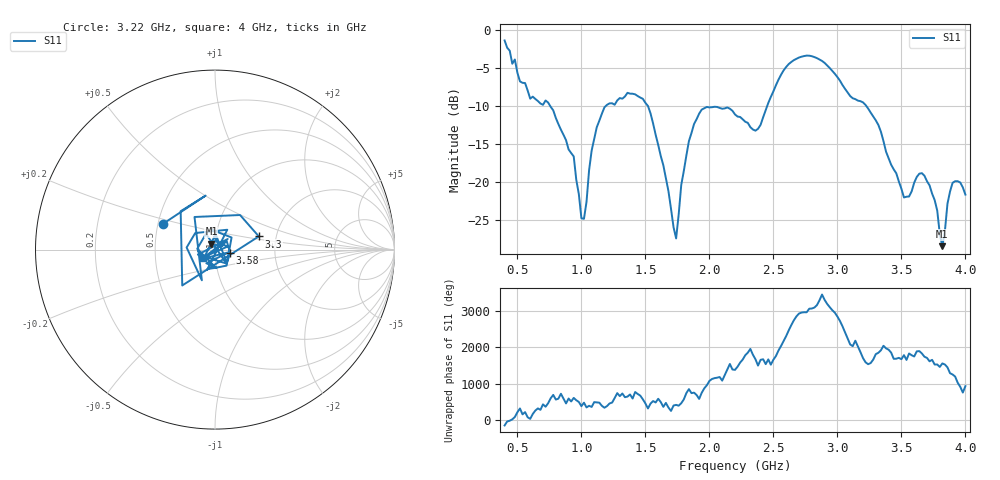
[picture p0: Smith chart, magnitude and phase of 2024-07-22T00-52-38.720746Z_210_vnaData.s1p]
!Created with skrf (http://scikit-rf.org).
# Hz S RI R 50.0
!freq ReS11 ImS11
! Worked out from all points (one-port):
!   181 points, 400 MHz to 4 GHz, reference 50 ohm
!   lowest |S11| = -28.5 dB at 3.82 GHz (marker M1), VSWR 1.08, Z = 48 + j3.1 ohm
!   |S11| at or under -10 dB: 757 MHz to 1.189 GHz (432.2 MHz wide, 44.4 % of centre); 1.521 GHz to 2.451 GHz (930.4 MHz wide, 46.9 % of centre); 3.227 GHz to end of sweep
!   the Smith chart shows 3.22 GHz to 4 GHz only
!   S11 on the Smith chart (normalised r, x): 3.22 GHz: 0.53, +0.17; 3.3 GHz: 1.62, +0.26; 3.58 GHz: 1.18, -0.05; 4 GHz: 0.87, -0.08
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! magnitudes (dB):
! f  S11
! 400 MHz  -1.3
! 600 MHz  -9.0
! 740 MHz  -9.5
! 860 MHz  -13.8
! 940 MHz  -16.6
! 1 GHz  -24.8
! 1.02 GHz  -24.8
! 1.12 GHz  -12.8
! 1.3 GHz  -8.9
! 1.52 GHz  -10.0
! 1.74 GHz  -27.4
! 1.76 GHz  -24.3
! 1.84 GHz  -14.6
! 1.92 GHz  -11.0
! 2.2 GHz  -11.1
! 2.38 GHz  -13.0
! 2.66 GHz  -3.9
! 2.88 GHz  -4.0
! 3.1 GHz  -8.7
! 3.22 GHz  -9.8
! 3.3 GHz  -11.9
! 3.56 GHz  -21.9
! 3.58 GHz  -21.2
! 3.68 GHz  -19.2
! 3.76 GHz  -22.4
! 3.82 GHz  -28.5
! 3.9 GHz  -20.1
! 4 GHz  -21.7
